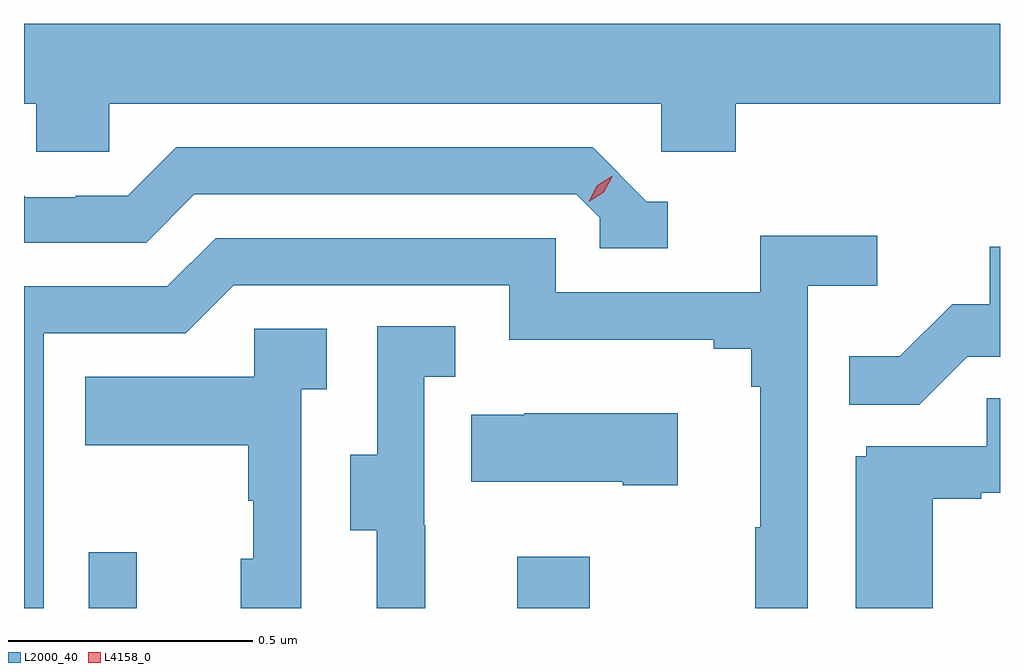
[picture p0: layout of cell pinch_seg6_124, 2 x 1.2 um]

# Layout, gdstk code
import gdstk
lib = gdstk.Library(unit=1e-6, precision=1e-09)
def R(c, l, rs):  # rectangles x0, y0, x1, y1
    for r in rs: c.add(gdstk.rectangle(r[:2], r[2:], *l))
def P(c, l, *ps):  # polygons
    for p in ps: c.add(gdstk.Polygon(p, *l))
L2000_40 = (2000, 40)
L4158_0 = (4158, 0)

pinch_seg6_124 = lib.new_cell('pinch_seg6_124')
R(pinch_seg6_124, L2000_40, [(1004.931,931.651,1005.029,931.765), (1005.809,931.651,1005.957,931.756)])
P(pinch_seg6_124, L2000_40, [(1004.973,932.684),(1006.104,932.684),(1006.104,932.586),(1006.256,932.586),(1006.256,932.684),(1006.798,932.684),(1006.798,932.848),(1004.798,932.848),(1004.798,932.684),(1004.823,932.684),(1004.823,932.586),(1004.973,932.586)],
  [(1006.117,932.484),(1006.074,932.484),(1005.963,932.595),(1005.11,932.595),(1005.011,932.496),(1004.904,932.496),(1004.904,932.493),(1004.801,932.493),(1004.798,932.496),(1004.798,932.4),(1005.048,932.4),(1005.147,932.499),(1005.93,932.499),(1005.978,932.451),(1005.978,932.388),(1006.117,932.388)],
  [(1004.838,932.214),(1005.129,932.214),(1005.228,932.313),(1005.792,932.313),(1005.792,932.201),(1006.211,932.201),(1006.211,932.182),(1006.288,932.182),(1006.288,932.105),(1006.307,932.105),(1006.307,931.817),(1006.296,931.817),(1006.296,931.651),(1006.404,931.651),(1006.404,932.312),(1006.546,932.312),(1006.546,932.414),(1006.307,932.414),(1006.307,932.298),(1005.888,932.298),(1005.888,932.409),(1005.191,932.409),(1005.092,932.31),(1004.798,932.31),(1004.798,931.651),(1004.838,931.651)],
  [(1006.731,932.166),(1006.798,932.166),(1006.798,932.391),(1006.777,932.391),(1006.777,932.274),(1006.7,932.274),(1006.593,932.167),(1006.489,932.167),(1006.489,932.068),(1006.633,932.068)],
  [(1005.62,931.821),(1005.618,931.821),(1005.618,932.125),(1005.682,932.125),(1005.682,932.228),(1005.522,932.228),(1005.522,931.965),(1005.467,931.965),(1005.467,931.81),(1005.521,931.81),(1005.521,931.651),(1005.62,931.651)],
  [(1005.366,932.099),(1005.418,932.099),(1005.418,932.223),(1005.27,932.223),(1005.27,932.125),(1004.923,932.125),(1004.923,931.985),(1005.258,931.985),(1005.258,931.871),(1005.268,931.871),(1005.268,931.752),(1005.242,931.752),(1005.242,931.651),(1005.366,931.651)],
  [(1006.66,931.875),(1006.76,931.875),(1006.76,931.887),(1006.798,931.887),(1006.798,932.081),(1006.771,932.081),(1006.771,931.983),(1006.524,931.983),(1006.524,931.962),(1006.502,931.962),(1006.502,931.651),(1006.66,931.651)],
  [(1006.138,932.05),(1005.823,932.05),(1005.823,932.047),(1005.715,932.047),(1005.715,931.91),(1006.025,931.91),(1006.025,931.903),(1006.138,931.903)])
P(pinch_seg6_124, L4158_0, [(1005.955,932.484),(1005.955,932.484),(1005.972,932.516),(1006.002,932.536),(1006.003,932.536),(1006.003,932.535),(1005.986,932.503),(1005.955,932.484)])

lib.write_gds('pinch_seg6_124.gds')
